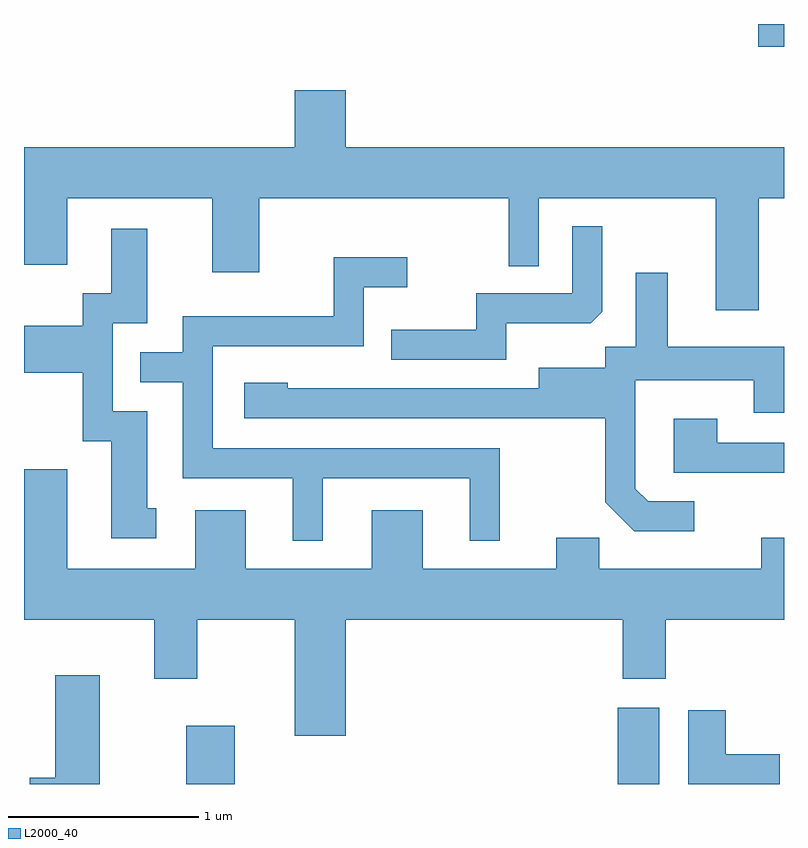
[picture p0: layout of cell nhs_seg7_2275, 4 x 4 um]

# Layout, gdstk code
import gdstk
lib = gdstk.Library(unit=1e-6, precision=1e-09)
def R(c, l, rs):  # rectangles x0, y0, x1, y1
    for r in rs: c.add(gdstk.rectangle(r[:2], r[2:], *l))
def P(c, l, *ps):  # polygons
    for p in ps: c.add(gdstk.Polygon(p, *l))
L2000_40 = (2000, 40)

nhs_seg7_2275 = lib.new_cell('nhs_seg7_2275')
R(nhs_seg7_2275, L2000_40, [(254.466,1802.252,254.719,1802.559), (256.736,1802.252,256.954,1802.654), (257.476,1806.131,257.611,1806.252)])
P(nhs_seg7_2275, L2000_40, [(257.479,1805.336),(257.611,1805.336),(257.611,1805.604),(255.304,1805.604),(255.304,1805.904),(255.036,1805.904),(255.036,1805.604),(253.611,1805.604),(253.611,1804.986),(253.839,1804.986),(253.839,1805.336),(254.601,1805.336),(254.601,1804.946),(254.849,1804.946),(254.849,1805.336),(256.161,1805.336),(256.161,1804.978),(256.319,1804.978),(256.319,1805.336),(257.251,1805.336),(257.251,1804.746),(257.479,1804.746)],
  [(256.149,1804.676),(256.594,1804.676),(256.654,1804.737),(256.654,1805.188),(256.496,1805.188),(256.496,1804.834),(255.991,1804.834),(255.991,1804.644),(255.543,1804.644),(255.543,1804.486),(256.149,1804.486)],
  [(254.308,1803.704),(254.259,1803.704),(254.259,1804.214),(254.079,1804.214),(254.079,1804.676),(254.259,1804.676),(254.259,1805.174),(254.071,1805.174),(254.071,1804.834),(253.921,1804.834),(253.921,1804.664),(253.611,1804.664),(253.611,1804.416),(253.921,1804.416),(253.921,1804.056),(254.071,1804.056),(254.071,1803.546),(254.308,1803.546)],
  [(255.184,1803.861),(255.956,1803.861),(255.956,1803.533),(256.114,1803.533),(256.114,1804.019),(254.604,1804.019),(254.604,1804.556),(255.399,1804.556),(255.399,1804.866),(255.628,1804.866),(255.628,1805.024),(255.241,1805.024),(255.241,1804.714),(254.446,1804.714),(254.446,1804.524),(254.223,1804.524),(254.223,1804.366),(254.446,1804.366),(254.446,1803.861),(255.026,1803.861),(255.026,1803.533),(255.184,1803.533)],
  [(257.138,1803.739),(256.897,1803.739),(256.829,1803.807),(256.829,1804.376),(257.451,1804.376),(257.451,1804.206),(257.611,1804.206),(257.611,1804.554),(256.999,1804.554),(256.999,1804.943),(256.831,1804.943),(256.831,1804.554),(256.671,1804.554),(256.671,1804.444),(256.321,1804.444),(256.321,1804.334),(254.999,1804.334),(254.999,1804.364),(254.771,1804.364),(254.771,1804.176),(256.671,1804.176),(256.671,1803.734),(256.824,1803.581),(257.138,1803.581)],
  [(257.611,1804.049),(257.259,1804.049),(257.259,1804.174),(257.031,1804.174),(257.031,1803.891),(257.611,1803.891)],
  [(255.304,1803.116),(256.761,1803.116),(256.761,1802.806),(256.989,1802.806),(256.989,1803.116),(257.611,1803.116),(257.611,1803.549),(257.491,1803.549),(257.491,1803.384),(256.639,1803.384),(256.639,1803.549),(256.411,1803.549),(256.411,1803.384),(255.709,1803.384),(255.709,1803.694),(255.441,1803.694),(255.441,1803.384),(254.779,1803.384),(254.779,1803.694),(254.511,1803.694),(254.511,1803.384),(253.839,1803.384),(253.839,1803.909),(253.611,1803.909),(253.611,1803.116),(254.296,1803.116),(254.296,1802.806),(254.524,1802.806),(254.524,1803.116),(255.036,1803.116),(255.036,1802.506),(255.304,1802.506)],
  [(254.009,1802.824),(253.776,1802.824),(253.776,1802.284),(253.641,1802.284),(253.641,1802.252),(254.009,1802.252)],
  [(257.589,1802.409),(257.304,1802.409),(257.304,1802.639),(257.106,1802.639),(257.106,1802.252),(257.589,1802.252)])

lib.write_gds('nhs_seg7_2275.gds')
